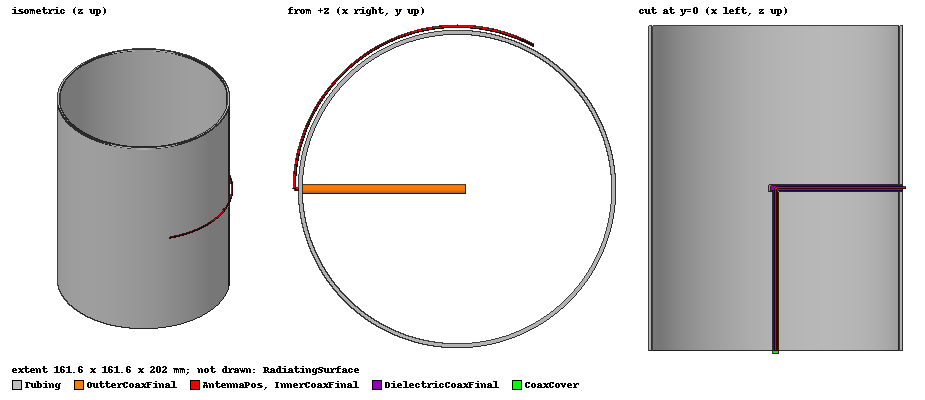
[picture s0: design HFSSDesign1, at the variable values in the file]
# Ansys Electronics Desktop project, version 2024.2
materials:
  vacuum: permittivity=1
  Carbon Fiber: permittivity=9 conductivity=100000 dielectric_loss_tangent=0.05 delta_H_freq=915000000
  pec: conductivity=1e+30

design HFSSDesign1 (HFSS, HFSS Terminal Network, model units mm)
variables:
  OuterCoaxDiameter = 4.12mm
  AntennaTubingSpace = 2mm
  TubingThickness = 2mm
  TubingRadius = 3in
  TubingHeight = 200mm
  InnerCoaxDiameter = 1.12mm
  AntennaRadius = TubingRadius + TubingThickness + AntennaTubingSpace
  DielectricCoaxDiameter = 3mm
  MonopoleLength = (SpeedOfLight*Period)/2
  AntennaCoverOffset = AntennaRadius*cos((MonopoleLength/AntennaRadius))
  AntennaWireRadius = 0.6mm
  Period = 1.1e-09s
  SpeedOfLight = 300000000m_per_sec
  RadiatingSurface_X = 300mm
  RadiatingSurface_Z = 200mm
  RadiatingSurface_Y = 200mm
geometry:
  CoaxCover [pec] = cylinder(axis=Z, base_centre=(0in, 0in, 0in), radius=OuterCoaxDiameter/2, height=-2mm)
  Tubing [Carbon Fiber, solve inside] = cylinder(axis=Z, base_centre=(0mm, 0mm, 0mm), radius=TubingRadius+TubingThickness, height=TubingHeight)
  TubingCenter = cylinder(axis=Z, base_centre=(0mm, 0mm, 0mm), radius=TubingRadius, height=TubingHeight)
  Tubing.subtract(TubingCenter)
  TubingCoaxGap = cylinder(axis=X, base_centre=(-(TubingRadius + TubingThickness + AntennaTubingSpace), 0mm, TubingHeight/2), radius=(OuterCoaxDiameter/2), height=(TubingRadius + TubingThickness + AntennaTubingSpace))
  Tubing.subtract(TubingCoaxGap)
  InnerCoaxFinal [pec] = cylinder(axis=X, base_centre=(-(AntennaRadius), 0mm, TubingHeight/2), radius=InnerCoaxDiameter/2, height=(AntennaRadius))
  InnerCoax2_1 = InnerCoaxFinal.copy()
  InnerCoax2_2 = InnerCoaxFinal.copy()
  InnerCoax = cylinder(axis=Z, base_centre=(0in, 0in, 0in), radius=InnerCoaxDiameter/2, height=TubingHeight/2)
  InnerCoax_1 = InnerCoax.copy()
  InnerCoax_2 = InnerCoax.copy()
  InnerCoaxFinal.unite(InnerCoax)
  InnerCoaxFinal_1 = InnerCoaxFinal.copy()
  InnerCoaxFinal_2 = InnerCoaxFinal.copy()
  InnerCoaxFinal_3 = InnerCoaxFinal.copy()
  DielectricCoaxFinal [vacuum] = cylinder(axis=X, base_centre=(-(TubingRadius + TubingThickness), 0mm, TubingHeight/2), radius=DielectricCoaxDiameter/2, height=(TubingRadius + TubingThickness + DielectricCoaxDiameter))
  DielectricCoax = cylinder(axis=Z, base_centre=(0in, 0in, 0in), radius=DielectricCoaxDiameter/2, height=TubingHeight/2)
  DielectricCoax.subtract(InnerCoax_1)
  DielectricCoax_1 = DielectricCoax.copy()
  DielectricCoax.subtract(InnerCoax2_1)
  DielectricCoaxFinal.unite(DielectricCoax)
  DielectricCoaxFinal.subtract(InnerCoaxFinal_1)
  DielectricCoaxFinal_1 = DielectricCoaxFinal.copy()
  OutterCoaxFinal [pec] = cylinder(axis=X, base_centre=(-(TubingRadius + TubingThickness), 0mm, TubingHeight/2), radius=OuterCoaxDiameter/2, height=(TubingRadius + TubingThickness + OuterCoaxDiameter))
  OutterCoax = cylinder(axis=Z, base_centre=(0in, 0in, 0in), radius=OuterCoaxDiameter/2, height=TubingHeight/2)
  OutterCoax.subtract(DielectricCoax_1, InnerCoax_2)
  OutterCoax.subtract(InnerCoax2_2)
  OutterCoaxFinal.unite(OutterCoax)
  OutterCoaxFinal.subtract(DielectricCoaxFinal_1)
  OutterCoaxFinal.subtract(InnerCoaxFinal_2)
  AntennaPos [pec] = torus(axis=Z, centre=(0mm, 0mm, TubingHeight/2), major_radius=AntennaRadius, minor_radius=AntennaWireRadius)
  AntennaPos.subtract(InnerCoaxFinal_3)
  RadiatingSurface [vacuum] = box(corner=(-RadiatingSurface_X/2, -RadiatingSurface_Y/2, 0mm), size=(RadiatingSurface_X, RadiatingSurface_Y, RadiatingSurface_Z))
  AntennaRemovalPos = box(corner=(-AntennaCoverOffset, 0mm, 0mm), size=(1000mm, 1000mm, TubingHeight))
  AntennaRemovalPos1 = box(corner=(200mm, 0mm, 0mm), size=(-1000mm, -1000mm, TubingHeight))
  AntennaRemovalPos1.unite(AntennaRemovalPos)
  AntennaPos.subtract(AntennaRemovalPos1)
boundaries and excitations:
  Rad1: Radiation Objects=RadiatingSurface
  1: Wave Port Faces=DielectricCoaxFinal.face(at (0, 0, 0)) WavePortType=Modal NumModes=1 Modes{Mode1{CharImp=Zpi}}
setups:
  Setup1: HfssDrivenAuto AutoSolverSetting=Balanced InfiniteSphereSetup=1 Type=Interpolating
    sweep Sweep: 815MHz to 1015MHz, 501 points;
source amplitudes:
  1:1: 1V 0deg
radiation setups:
  Infinite Sphere1: Infinite Sphere Theta=0deg..180deg step 2deg Phi=-180deg..180deg step 2deg
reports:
  Gain Plot 1: dB(GainTotal) vs Phi, Theta on Setup1 : LastAdaptive, Infinite Sphere1 [Freq=0.915GHz]
